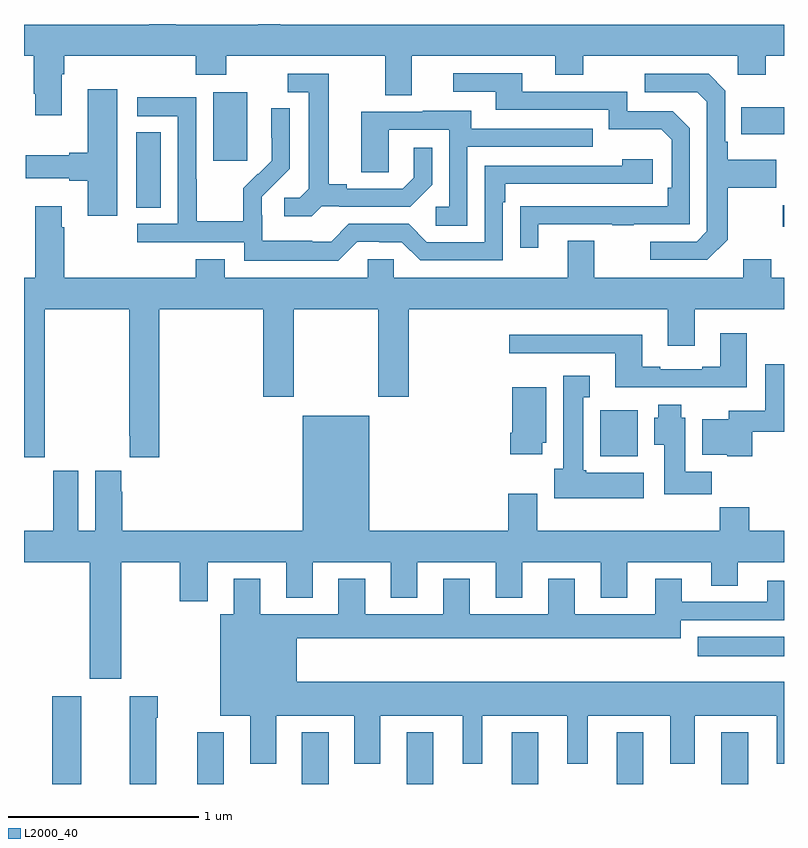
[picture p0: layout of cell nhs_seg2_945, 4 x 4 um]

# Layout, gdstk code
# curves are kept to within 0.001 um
import gdstk
lib = gdstk.Library(unit=1e-6, precision=1e-09)
def R(c, l, rs):  # rectangles x0, y0, x1, y1
    for r in rs: c.add(gdstk.rectangle(r[:2], r[2:], *l))
def A(c, l, x, y, w, h, nx, ny, dx, dy):  # array of equal rectangles
    R(c, l, [(x+i*dx, y+j*dy, x+i*dx+w, y+j*dy+h) for i in range(nx) for j in range(ny)])
def P(c, l, *ps):  # polygons
    for p in ps: c.add(gdstk.Polygon(p, *l))
L2000_40 = (2000, 40)

nhs_seg2_945 = lib.new_cell('nhs_seg2_945')
A(nhs_seg2_945, L2000_40, 159.911, 647.8, 0.14, 0.273, 6, 1, 0.552, 0)
R(nhs_seg2_945, L2000_40, [(159.149,647.8,159.301,648.262), (162.546,648.473,163,648.574), (162.032,649.526,162.229,649.768), (162.993,650.733,163,650.846), (159.59,650.833,159.721,651.23), (159.995,651.081,160.174,651.442), (162.775,651.221,163,651.361)])
P(nhs_seg2_945, L2000_40, [(159.199,651.536),(159.212,651.536),(159.212,651.632),(159.905,651.632),(159.905,651.533),(160.065,651.533),(160.065,651.632),(160.901,651.632),(160.901,651.424),(161.041,651.424),(161.041,651.632),(161.795,651.632),(161.795,651.533),(161.943,651.533),(161.943,651.632),(162.756,651.632),(162.756,651.533),(162.903,651.533),(162.903,651.632),(163,651.632),(163,651.796),(160.349,651.796),(160.349,651.8),(160.233,651.8),(160.233,651.796),(159.799,651.796),(159.799,651.8),(159.659,651.8),(159.659,651.796),(159,651.796),(159,651.632),(159.052,651.632),(159.052,651.433),(159.059,651.433),(159.059,651.321),(159.199,651.321)],
  [(161.707,650.745),(162.097,650.745),(162.097,650.74),(162.209,650.74),(162.209,650.745),(162.504,650.745),(162.504,651.252),(162.414,651.342),(162.174,651.342),(162.174,651.444),(161.623,651.444),(161.623,651.54),(161.259,651.54),(161.259,651.444),(161.483,651.444),(161.483,651.348),(162.078,651.348),(162.078,651.245),(162.355,651.245),(162.408,651.192),(162.408,650.938),(162.388,650.938),(162.388,650.841),(161.611,650.84),(161.611,650.622),(161.707,650.622)],
  [(160.566,650.841),(160.66,650.841),(160.66,650.838),(161.032,650.838),(161.148,650.954),(161.148,651.148),(161.051,651.148),(161.051,650.991),(160.994,650.934),(160.699,650.934),(160.699,650.957),(160.603,650.957),(160.603,651.537),(160.389,651.537),(160.389,651.441),(160.499,651.441),(160.499,650.933),(160.452,650.886),(160.371,650.886),(160.371,650.789),(160.514,650.789)],
  [(162.703,650.665),(162.703,650.938),(162.959,650.938),(162.959,651.085),(162.703,651.085),(162.703,651.181),(162.69,651.181),(162.69,651.45),(162.603,651.537),(162.267,651.537),(162.267,651.441),(162.543,651.441),(162.594,651.39),(162.594,650.709),(162.54,650.655),(162.297,650.655),(162.297,650.559),(162.597,650.559)],
  [(159.49,651.457),(159.335,651.457),(159.335,651.122),(159.239,651.122),(159.239,651.109),(159.009,651.109),(159.009,650.987),(159.239,650.987),(159.239,650.975),(159.335,650.975),(159.335,650.79),(159.49,650.79)],
  [(160.755,650.655),(160.871,650.655),(160.871,650.652),(160.989,650.652),(161.085,650.556),(161.52,650.556),(161.52,650.861),(161.533,650.861),(161.533,650.958),(162.31,650.958),(162.31,651.088),(162.149,651.088),(162.149,651.054),(161.424,651.054),(161.424,650.652),(161.121,650.652),(161.025,650.748),(160.71,650.748),(160.617,650.655),(160.517,650.655),(160.517,650.659),(160.254,650.659),(160.254,650.793),(160.252,650.793),(160.252,650.89),(160.398,651.038),(160.398,651.356),(160.302,651.356),(160.302,651.202),(160.304,651.202),(160.304,651.08),(160.233,651.009),(160.23,651.012),(160.153,650.935),(160.153,650.761),(159.909,650.761),(159.909,650.984),(159.906,650.984),(159.906,651.414),(159.597,651.414),(159.597,651.315),(159.81,651.315),(159.81,650.748),(159.597,650.748),(159.597,650.652),(160.158,650.652),(160.158,650.555),(160.655,650.555)],
  [(161.334,651.153),(161.993,651.153),(161.993,651.249),(161.353,651.249),(161.353,651.343),(161.099,651.343),(161.099,651.339),(160.775,651.339),(160.775,651.019),(160.92,651.019),(160.92,651.243),(161.238,651.243),(161.238,650.838),(161.166,650.838),(161.166,650.737),(161.334,650.737)],
  [(159.108,650.3),(159.553,650.3),(159.553,649.633),(159.557,649.633),(159.557,649.521),(159.713,649.521),(159.713,650.3),(160.259,650.3),(160.259,649.839),(160.419,649.839),(160.419,650.3),(160.864,650.3),(160.864,649.839),(161.024,649.839),(161.024,650.3),(162.389,650.3),(162.389,650.106),(162.529,650.106),(162.529,650.3),(163,650.3),(163,650.464),(162.933,650.464),(162.933,650.563),(162.785,650.563),(162.785,650.464),(162.001,650.464),(162.001,650.659),(161.861,650.659),(161.861,650.464),(160.947,650.464),(160.947,650.562),(160.809,650.562),(160.809,650.464),(160.057,650.464),(160.057,650.563),(159.905,650.563),(159.905,650.464),(159.212,650.464),(159.212,650.729),(159.199,650.729),(159.199,650.842),(159.059,650.842),(159.059,650.464),(159,650.464),(159,649.521),(159.108,649.521)],
  [(162.805,650.173),(162.665,650.173),(162.665,649.996),(162.569,649.996),(162.569,649.983),(162.349,649.983),(162.349,649.996),(162.253,649.996),(162.253,650.164),(161.553,650.164),(161.553,650.067),(162.113,650.067),(162.113,649.887),(162.805,649.887)],
  [(162.833,649.655),(163,649.655),(163,650.008),(162.902,650.008),(162.902,649.765),(162.71,649.765),(162.71,649.72),(162.569,649.72),(162.569,649.532),(162.702,649.532),(162.702,649.526),(162.833,649.526)],
  [(162.262,649.438),(161.958,649.438),(161.958,649.452),(161.944,649.452),(161.944,649.835),(161.977,649.835),(161.977,649.948),(161.837,649.948),(161.837,649.458),(161.792,649.458),(161.792,649.304),(162.262,649.304)],
  [(161.728,649.596),(161.749,649.596),(161.749,649.888),(161.57,649.888),(161.57,649.648),(161.558,649.648),(161.558,649.536),(161.728,649.536)],
  [(162.62,649.444),(162.481,649.444),(162.481,649.728),(162.46,649.728),(162.46,649.795),(162.338,649.795),(162.338,649.728),(162.317,649.728),(162.317,649.585),(162.371,649.585),(162.371,649.326),(162.62,649.326)],
  [(159.518,649.337),(159.511,649.337),(159.511,649.45),(159.374,649.45),(159.374,649.132),(159.286,649.132),(159.286,649.45),(159.155,649.45),(159.155,649.132),(159,649.132),(159,648.968),(159.347,648.968),(159.347,648.354),(159.511,648.354),(159.511,648.968),(159.82,648.968),(159.82,648.762),(159.967,648.762),(159.967,648.968),(160.379,648.968),(160.379,648.779),(160.519,648.779),(160.519,648.968),(160.931,648.968),(160.931,648.779),(161.071,648.779),(161.071,648.968),(161.483,648.968),(161.483,648.779),(161.623,648.779),(161.623,648.968),(162.035,648.968),(162.035,648.779),(162.175,648.779),(162.175,648.968),(162.617,648.968),(162.617,648.844),(162.757,648.844),(162.757,648.968),(163,648.968),(163,649.132),(162.818,649.132),(162.818,649.256),(162.661,649.256),(162.661,649.132),(161.701,649.132),(161.701,649.327),(161.549,649.327),(161.549,649.132),(160.816,649.132),(160.816,649.738),(160.466,649.738),(160.466,649.132),(159.518,649.132)],
  [(160.327,648.158),(160.739,648.158),(160.739,647.907),(160.876,647.907),(160.876,648.158),(161.309,648.158),(161.309,647.907),(161.413,647.907),(161.413,648.158),(161.858,648.158),(161.858,647.907),(161.968,647.907),(161.968,648.158),(162.401,648.158),(162.401,647.907),(162.529,647.907),(162.529,648.158),(162.962,648.158),(162.962,647.907),(163,647.907),(163,648.337),(160.435,648.337),(160.435,648.566),(162.457,648.566),(162.457,648.663),(163,648.663),(163,648.871),(162.911,648.871),(162.911,648.759),(162.463,648.759),(162.463,648.88),(162.323,648.88),(162.323,648.694),(161.899,648.694),(161.899,648.88),(161.759,648.88),(161.759,648.694),(161.347,648.694),(161.347,648.88),(161.207,648.88),(161.207,648.694),(160.795,648.694),(160.795,648.88),(160.655,648.88),(160.655,648.694),(160.243,648.694),(160.243,648.88),(160.103,648.88),(160.103,648.694),(160.034,648.694),(160.034,648.158),(160.19,648.158),(160.19,647.907),(160.327,647.907)],
  [(159.697,648.149),(159.705,648.149),(159.705,648.262),(159.557,648.262),(159.557,647.8),(159.697,647.8)])

lib.write_gds('nhs_seg2_945.gds')
